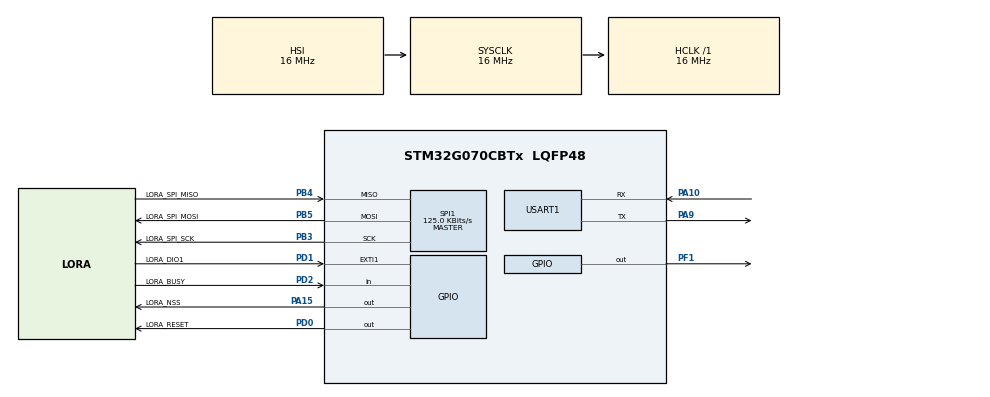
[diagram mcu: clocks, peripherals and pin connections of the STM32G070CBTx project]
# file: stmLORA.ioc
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Mcu.Family=STM32G0
Mcu.Name=STM32G070CBTx
Mcu.Package=LQFP48
NVIC.EXTI0_1_IRQn=true\:0\:0\:false\:false\:true\:true\:true\:true
NVIC.SPI1_IRQn=true\:0\:0\:false\:false\:true\:true\:true\:true
PA10.Mode=Asynchronous
PA10.Signal=USART1_RX
PA15.GPIO_Label=LORA_NSS
PA15.Signal=GPIO_Output
PA9\ [PA11].Mode=Asynchronous
PA9\ [PA11].Signal=USART1_TX
PB3.GPIO_Label=LORA_SPI_SCK
PB3.Mode=Full_Duplex_Master
PB3.Signal=SPI1_SCK
PB4.GPIO_Label=LORA_SPI_MISO
PB4.Mode=Full_Duplex_Master
PB4.Signal=SPI1_MISO
PB5.GPIO_Label=LORA_SPI_MOSI
PB5.Mode=Full_Duplex_Master
PB5.Signal=SPI1_MOSI
PD0.GPIO_Label=LORA_RESET
PD0.Signal=GPIO_Output
PD1.GPIO_Label=LORA_DIO1
PD1.GPIO_ModeDefaultEXTI=GPIO_MODE_IT_RISING
PD1.GPIO_PuPd=GPIO_PULLDOWN
PD1.Signal=GPXTI1
PD2.GPIO_Label=LORA_BUSY
PD2.GPIO_PuPd=GPIO_PULLDOWN
PD2.Signal=GPIO_Input
PF1-OSC_OUT\ (PF1).Signal=GPIO_Output
ProjectManager.HeapSize=0x200
ProjectManager.StackSize=0x400
ProjectManager.TargetToolchain=STM32CubeIDE
RCC.AHBFreq_Value=16000000
RCC.CortexFreq_Value=16000000
RCC.EXTERNAL_CLOCK_VALUE=48000
RCC.HCLKFreq_Value=16000000
RCC.HSE_VALUE=8000000
RCC.HSI_VALUE=16000000
RCC.LSE_VALUE=32768
RCC.SYSCLKFreq_VALUE=16000000
RCC.VCOOutputFreq_Value=128000000
SPI1.BaudRatePrescaler=SPI_BAUDRATEPRESCALER_128
SPI1.CalculateBaudRate=125.0 KBits/s
SPI1.DataSize=SPI_DATASIZE_8BIT
SPI1.Direction=SPI_DIRECTION_2LINES
SPI1.Mode=SPI_MODE_MASTER
SPI1.VirtualType=VM_MASTER
USART1.VirtualMode-Asynchronous=VM_ASYNC
VP_SYS_VS_PINREMAP.Mode=PINREMAP
board=custom

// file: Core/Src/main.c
/* USER CODE BEGIN Header */
/**
  ******************************************************************************
  * @file           : main.c
  * @brief          : Main program body
  ******************************************************************************
  * @attention
  *
  * Copyright (c) 2026 STMicroelectronics.
  * All rights reserved.
  *
  * This software is licensed under terms that can be found in the LICENSE file
  * in the root directory of this software component.
  * If no LICENSE file comes with this software, it is provided AS-IS.
  *
  ******************************************************************************
  */
/* USER CODE END Header */
#include "main.h"

/* USER CODE BEGIN Includes */
#include "misc_sx126x.h"
#include <stdio.h>
#include <string.h>
#include "sx126x.h"

/* USER CODE END Includes */

SPI_HandleTypeDef hspi1;

UART_HandleTypeDef huart1;

void SystemClock_Config(void);
static void MX_GPIO_Init(void);
static void MX_SPI1_Init(void);
static void MX_USART1_UART_Init(void);

/* USER CODE BEGIN 0 */
extern UART_HandleTypeDef huart1;
extern UART_HandleTypeDef huart2;

int _write(int file, char *ptr, int len)
{
    (void)file;
    HAL_UART_Transmit(&huart1, (uint8_t *)ptr, len, HAL_MAX_DELAY);
    return len;
}
void HAL_GPIO_EXTI_Rising_Callback(uint16_t GPIO_Pin)
{
    if(GPIO_Pin == LORA_DIO1_Pin)
    {
        misc_sx126x_irq_cb();
    }
}
/* USER CODE END 0 */

int main(void)
{

  /* MCU Configuration--------------------------------------------------------*/

  /* Reset of all peripherals, Initializes the Flash interface and the Systick. */
  HAL_Init();

  /* Configure the system clock */
  SystemClock_Config();

  /* Initialize all configured peripherals */
  MX_GPIO_Init();
  MX_SPI1_Init();
  MX_USART1_UART_Init();
  /* USER CODE BEGIN 2 */

    HAL_GPIO_WritePin(GPIOF, GPIO_PIN_1, GPIO_PIN_RESET);
    HAL_Delay(500);

    misc_sx126x_init(NULL);
    printf("STM32G070 Ready!\r\n");

int count = 0;

  /* USER CODE END 2 */

  /* Infinite loop */
  while (1)
  {

    /* USER CODE BEGIN 3 */
	  printf("Hello from ST-Link! Count = %d\r\n", count);
	  printf("Hello from TTL! Count = %d\r\n", count);
       count++;
	 	  HAL_Delay(3000);

	 	 uint8_t msg[] = "Hello LoRa";

	 	    if(misc_sx126x_transmit(msg, sizeof(msg) - 1, 5000))
	 	    {
	 	        printf("TX Success\r\n");
	 	    }
	 	    else
	 	    {
	 	        printf("TX Failed\r\n");
	 	    }

	 	    HAL_Delay(5000);

  }
  /* USER CODE END 3 */
}

void SystemClock_Config(void)
{
  RCC_OscInitTypeDef RCC_OscInitStruct = {0};
  RCC_ClkInitTypeDef RCC_ClkInitStruct = {0};

  /** Configure the main internal regulator output voltage
  */
  HAL_PWREx_ControlVoltageScaling(PWR_REGULATOR_VOLTAGE_SCALE1);

  /** Initializes the RCC Oscillators according to the specified parameters
  * in the RCC_OscInitTypeDef structure.
  */
  RCC_OscInitStruct.OscillatorType = RCC_OSCILLATORTYPE_HSI;
  RCC_OscInitStruct.HSIState = RCC_HSI_ON;
  RCC_OscInitStruct.HSIDiv = RCC_HSI_DIV1;
  RCC_OscInitStruct.HSICalibrationValue = RCC_HSICALIBRATION_DEFAULT;
  RCC_OscInitStruct.PLL.PLLState = RCC_PLL_NONE;
  if (HAL_RCC_OscConfig(&RCC_OscInitStruct) != HAL_OK)
  {
    Error_Handler();
  }

  /** Initializes the CPU, AHB and APB buses clocks
  */
  RCC_ClkInitStruct.ClockType = RCC_CLOCKTYPE_HCLK|RCC_CLOCKTYPE_SYSCLK
                              |RCC_CLOCKTYPE_PCLK1;
  RCC_ClkInitStruct.SYSCLKSource = RCC_SYSCLKSOURCE_HSI;
  RCC_ClkInitStruct.AHBCLKDivider = RCC_SYSCLK_DIV1;
  RCC_ClkInitStruct.APB1CLKDivider = RCC_HCLK_DIV1;

  if (HAL_RCC_ClockConfig(&RCC_ClkInitStruct, FLASH_LATENCY_0) != HAL_OK)
  {
    Error_Handler();
  }
}

static void MX_SPI1_Init(void)
{

  /* SPI1 parameter configuration*/
  hspi1.Instance = SPI1;
  hspi1.Init.Mode = SPI_MODE_MASTER;
  hspi1.Init.Direction = SPI_DIRECTION_2LINES;
  hspi1.Init.DataSize = SPI_DATASIZE_8BIT;
  hspi1.Init.CLKPolarity = SPI_POLARITY_LOW;
  hspi1.Init.CLKPhase = SPI_PHASE_1EDGE;
  hspi1.Init.NSS = SPI_NSS_SOFT;
  hspi1.Init.BaudRatePrescaler = SPI_BAUDRATEPRESCALER_128;
  hspi1.Init.FirstBit = SPI_FIRSTBIT_MSB;
  hspi1.Init.TIMode = SPI_TIMODE_DISABLE;
  hspi1.Init.CRCCalculation = SPI_CRCCALCULATION_DISABLE;
  hspi1.Init.CRCPolynomial = 7;
  hspi1.Init.CRCLength = SPI_CRC_LENGTH_DATASIZE;
  hspi1.Init.NSSPMode = SPI_NSS_PULSE_ENABLE;
  if (HAL_SPI_Init(&hspi1) != HAL_OK)
  {
    Error_Handler();
  }

}

static void MX_USART1_UART_Init(void)
{

  huart1.Instance = USART1;
  huart1.Init.BaudRate = 115200;
  huart1.Init.WordLength = UART_WORDLENGTH_8B;
  huart1.Init.StopBits = UART_STOPBITS_1;
  huart1.Init.Parity = UART_PARITY_NONE;
  huart1.Init.Mode = UART_MODE_TX_RX;
  huart1.Init.HwFlowCtl = UART_HWCONTROL_NONE;
  huart1.Init.OverSampling = UART_OVERSAMPLING_16;
  huart1.Init.OneBitSampling = UART_ONE_BIT_SAMPLE_DISABLE;
  huart1.Init.ClockPrescaler = UART_PRESCALER_DIV1;
  huart1.AdvancedInit.AdvFeatureInit = UART_ADVFEATURE_NO_INIT;
  if (HAL_UART_Init(&huart1) != HAL_OK)
  {
    Error_Handler();
  }
  if (HAL_UARTEx_SetTxFifoThreshold(&huart1, UART_TXFIFO_THRESHOLD_1_8) != HAL_OK)
  {
    Error_Handler();
  }
  if (HAL_UARTEx_SetRxFifoThreshold(&huart1, UART_RXFIFO_THRESHOLD_1_8) != HAL_OK)
  {
    Error_Handler();
  }
  if (HAL_UARTEx_DisableFifoMode(&huart1) != HAL_OK)
  {
    Error_Handler();
  }

}

static void MX_GPIO_Init(void)
{
  GPIO_InitTypeDef GPIO_InitStruct = {0};

  /* GPIO Ports Clock Enable */
  __HAL_RCC_GPIOF_CLK_ENABLE();
  __HAL_RCC_GPIOA_CLK_ENABLE();
  __HAL_RCC_GPIOD_CLK_ENABLE();
  __HAL_RCC_GPIOB_CLK_ENABLE();

  /*Configure GPIO pin Output Level */
  HAL_GPIO_WritePin(GPIOF, GPIO_PIN_1, GPIO_PIN_RESET);

  /*Configure GPIO pin Output Level */
  HAL_GPIO_WritePin(LORA_NSS_GPIO_Port, LORA_NSS_Pin, GPIO_PIN_RESET);

  /*Configure GPIO pin Output Level */
  HAL_GPIO_WritePin(LORA_RESET_GPIO_Port, LORA_RESET_Pin, GPIO_PIN_RESET);

  /*Configure GPIO pin : PF1 */
  GPIO_InitStruct.Pin = GPIO_PIN_1;
  GPIO_InitStruct.Mode = GPIO_MODE_OUTPUT_PP;
  GPIO_InitStruct.Pull = GPIO_NOPULL;
  GPIO_InitStruct.Speed = GPIO_SPEED_FREQ_LOW;
  HAL_GPIO_Init(GPIOF, &GPIO_InitStruct);

  /*Configure GPIO pin : LORA_NSS_Pin */
  GPIO_InitStruct.Pin = LORA_NSS_Pin;
  GPIO_InitStruct.Mode = GPIO_MODE_OUTPUT_PP;
  GPIO_InitStruct.Pull = GPIO_NOPULL;
  GPIO_InitStruct.Speed = GPIO_SPEED_FREQ_LOW;
  HAL_GPIO_Init(LORA_NSS_GPIO_Port, &GPIO_InitStruct);

  /*Configure GPIO pin : LORA_RESET_Pin */
  GPIO_InitStruct.Pin = LORA_RESET_Pin;
  GPIO_InitStruct.Mode = GPIO_MODE_OUTPUT_PP;
  GPIO_InitStruct.Pull = GPIO_NOPULL;
  GPIO_InitStruct.Speed = GPIO_SPEED_FREQ_LOW;
  HAL_GPIO_Init(LORA_RESET_GPIO_Port, &GPIO_InitStruct);

  /*Configure GPIO pin : LORA_DIO1_Pin */
  GPIO_InitStruct.Pin = LORA_DIO1_Pin;
  GPIO_InitStruct.Mode = GPIO_MODE_IT_RISING;
  GPIO_InitStruct.Pull = GPIO_PULLDOWN;
  HAL_GPIO_Init(LORA_DIO1_GPIO_Port, &GPIO_InitStruct);

  /*Configure GPIO pin : LORA_BUSY_Pin */
  GPIO_InitStruct.Pin = LORA_BUSY_Pin;
  GPIO_InitStruct.Mode = GPIO_MODE_INPUT;
  GPIO_InitStruct.Pull = GPIO_PULLDOWN;
  HAL_GPIO_Init(LORA_BUSY_GPIO_Port, &GPIO_InitStruct);

  /* EXTI interrupt init*/
  HAL_NVIC_SetPriority(EXTI0_1_IRQn, 0, 0);
  HAL_NVIC_EnableIRQ(EXTI0_1_IRQn);

}

void Error_Handler(void)
{
  __disable_irq();
  while (1)
  {
  }
}
